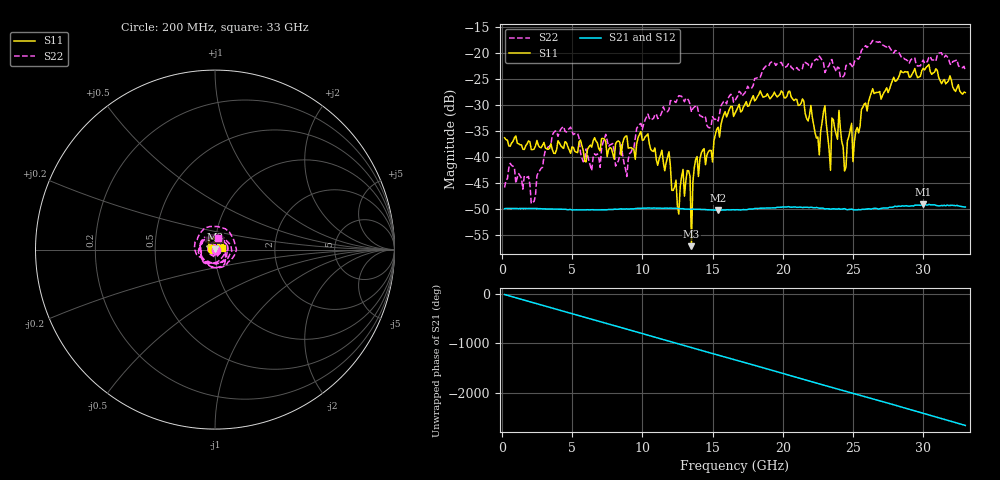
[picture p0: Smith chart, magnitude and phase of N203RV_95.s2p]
# GHZ S RI R 50
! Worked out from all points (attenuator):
!   329 points, 200 MHz to 33 GHz, reference 50 ohm
!   highest |S21| = -49.09 dB at 30 GHz (marker M1); lowest = -50.3 dB at 15.4 GHz (marker M2)
!   lowest |S11| = -57.2 dB at 13.5 GHz (marker M3), VSWR 1.00, Z = 49.9 + j0.0657 ohm
!   |S11| at or under -10 dB: start of sweep to end of sweep
!   |S22| runs from -49.0 to -17.5 dB; largest |S21 - S12| = 7.4e-05
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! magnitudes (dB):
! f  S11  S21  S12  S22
! 200 MHz  -36.3  -50.0  -49.9  -45.9
! 2.3 GHz  -38.5  -50.0  -49.9  -48.6
! 4.4 GHz  -38.3  -50.1  -50.1  -34.1
! 5.7 GHz  -37.8  -50.2  -50.2  -40.2
! 8.9 GHz  -35.9  -50.0  -50.0  -43.8
! 11.2 GHz  -40.3  -49.9  -49.8  -32.3
! 12.6 GHz  -51.0  -50.0  -49.9  -28.2
! 13.3 GHz  -42.7  -50.0  -50.0  -29.1
! 13.5 GHz  -57.2  -50.1  -50.1  -31.3
! 13.8 GHz  -40.5  -50.1  -50.1  -30.2
! 15.4 GHz  -34.2  -50.3  -50.3  -33.1
! 16.6 GHz  -31.6  -50.2  -50.2  -29.1
! 22.1 GHz  -32.3  -49.7  -49.7  -21.9
! 22.6 GHz  -39.6  -49.9  -49.8  -20.5
! 23 GHz  -30.1  -50.0  -50.0  -23.7
! 23.4 GHz  -42.6  -50.1  -50.0  -21.4
! 23.5 GHz  -32.5  -50.0  -50.0  -21.2
! 24 GHz  -31.0  -49.9  -50.0  -22.8
! 24.4 GHz  -42.7  -50.0  -49.9  -24.1
! 27.6 GHz  -26.9  -49.7  -49.7  -18.9
! 30 GHz  -22.9  -49.1  -49.2  -21.3
! 33 GHz  -27.6  -49.6  -49.6  -23.4
